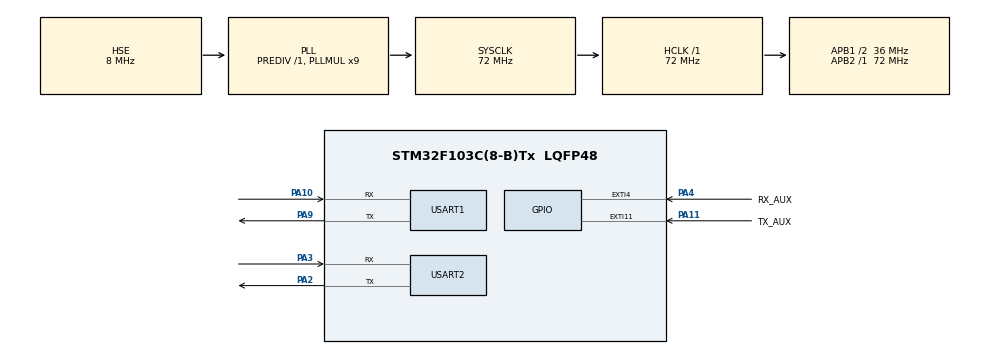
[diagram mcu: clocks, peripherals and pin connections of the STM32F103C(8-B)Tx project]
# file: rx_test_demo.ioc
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Dma.Request0=USART1_RX
Dma.Request1=USART2_RX
Dma.Request2=USART2_TX
Dma.Request3=USART1_TX
Dma.USART1_RX.0.Direction=DMA_PERIPH_TO_MEMORY
Dma.USART1_RX.0.Instance=DMA1_Channel5
Dma.USART1_RX.0.MemDataAlignment=DMA_MDATAALIGN_BYTE
Dma.USART1_RX.0.MemInc=DMA_MINC_ENABLE
Dma.USART1_RX.0.Mode=DMA_NORMAL
Dma.USART1_RX.0.PeriphDataAlignment=DMA_PDATAALIGN_BYTE
Dma.USART1_RX.0.PeriphInc=DMA_PINC_DISABLE
Dma.USART1_RX.0.Priority=DMA_PRIORITY_LOW
Dma.USART1_TX.3.Direction=DMA_MEMORY_TO_PERIPH
Dma.USART1_TX.3.Instance=DMA1_Channel4
Dma.USART1_TX.3.MemDataAlignment=DMA_MDATAALIGN_BYTE
Dma.USART1_TX.3.MemInc=DMA_MINC_ENABLE
Dma.USART1_TX.3.Mode=DMA_NORMAL
Dma.USART1_TX.3.PeriphDataAlignment=DMA_PDATAALIGN_BYTE
Dma.USART1_TX.3.PeriphInc=DMA_PINC_DISABLE
Dma.USART1_TX.3.Priority=DMA_PRIORITY_LOW
Dma.USART2_RX.1.Direction=DMA_PERIPH_TO_MEMORY
Dma.USART2_RX.1.Instance=DMA1_Channel6
Dma.USART2_RX.1.MemDataAlignment=DMA_MDATAALIGN_BYTE
Dma.USART2_RX.1.MemInc=DMA_MINC_ENABLE
Dma.USART2_RX.1.Mode=DMA_NORMAL
Dma.USART2_RX.1.PeriphDataAlignment=DMA_PDATAALIGN_BYTE
Dma.USART2_RX.1.PeriphInc=DMA_PINC_DISABLE
Dma.USART2_RX.1.Priority=DMA_PRIORITY_LOW
Dma.USART2_TX.2.Direction=DMA_MEMORY_TO_PERIPH
Dma.USART2_TX.2.Instance=DMA1_Channel7
Dma.USART2_TX.2.MemDataAlignment=DMA_MDATAALIGN_BYTE
Dma.USART2_TX.2.MemInc=DMA_MINC_ENABLE
Dma.USART2_TX.2.Mode=DMA_NORMAL
Dma.USART2_TX.2.PeriphDataAlignment=DMA_PDATAALIGN_BYTE
Dma.USART2_TX.2.PeriphInc=DMA_PINC_DISABLE
Dma.USART2_TX.2.Priority=DMA_PRIORITY_LOW
Mcu.Family=STM32F1
Mcu.Name=STM32F103C(8-B)Tx
Mcu.Package=LQFP48
NVIC.DMA1_Channel4_IRQn=true\:0\:0\:false\:false\:true\:false\:true\:true
NVIC.DMA1_Channel5_IRQn=true\:0\:0\:false\:false\:true\:false\:true\:true
NVIC.DMA1_Channel6_IRQn=true\:0\:0\:false\:false\:true\:false\:true\:true
NVIC.DMA1_Channel7_IRQn=true\:0\:0\:false\:false\:true\:false\:true\:true
NVIC.EXTI15_10_IRQn=true\:0\:0\:false\:false\:true\:true\:true\:true
NVIC.EXTI4_IRQn=true\:0\:0\:false\:false\:true\:true\:true\:true
NVIC.PriorityGroup=NVIC_PRIORITYGROUP_4
NVIC.TIM1_UP_IRQn=true\:15\:0\:false\:false\:true\:false\:true\:true
NVIC.TIM2_IRQn=true\:0\:0\:false\:false\:true\:true\:true\:true
NVIC.TimeBase=TIM1_UP_IRQn
NVIC.TimeBaseIP=TIM1
NVIC.USART1_IRQn=true\:5\:0\:true\:false\:true\:true\:true\:true
NVIC.USART2_IRQn=true\:5\:0\:true\:false\:true\:true\:true\:true
PA10.Mode=Asynchronous
PA10.Signal=USART1_RX
PA11.GPIO_Label=TX_AUX
PA11.GPIO_PuPd=GPIO_PULLDOWN
PA11.Signal=GPXTI11
PA13.Mode=Serial_Wire
PA13.Signal=SYS_JTMS-SWDIO
PA14.Mode=Serial_Wire
PA14.Signal=SYS_JTCK-SWCLK
PA2.Mode=Asynchronous
PA2.Signal=USART2_TX
PA3.Mode=Asynchronous
PA3.Signal=USART2_RX
PA4.GPIO_Label=RX_AUX
PA4.GPIO_PuPd=GPIO_PULLDOWN
PA4.Signal=GPXTI4
PA9.Mode=Asynchronous
PA9.Signal=USART1_TX
PD0-OSC_IN.Mode=HSE-External-Oscillator
PD0-OSC_IN.Signal=RCC_OSC_IN
PD1-OSC_OUT.Mode=HSE-External-Oscillator
PD1-OSC_OUT.Signal=RCC_OSC_OUT
ProjectManager.HeapSize=0x200
ProjectManager.StackSize=0x400
ProjectManager.TargetToolchain=MDK-ARM V5.32
RCC.AHBFreq_Value=72000000
RCC.APB1CLKDivider=RCC_HCLK_DIV2
RCC.APB1Freq_Value=36000000
RCC.APB1TimFreq_Value=72000000
RCC.APB2Freq_Value=72000000
RCC.APB2TimFreq_Value=72000000
RCC.HCLKFreq_Value=72000000
RCC.PLLMUL=RCC_PLL_MUL9
RCC.PLLSourceVirtual=RCC_PLLSOURCE_HSE
RCC.SYSCLKFreq_VALUE=72000000
RCC.SYSCLKSource=RCC_SYSCLKSOURCE_PLLCLK
RCC.USBFreq_Value=72000000
TIM2.Period=100-1
TIM2.Prescaler=7200-1
USART1.VirtualMode=VM_ASYNC
USART2.VirtualMode=VM_ASYNC
VP_SYS_VS_tim1.Mode=TIM1
VP_TIM2_VS_ClockSourceINT.Mode=Internal
board=custom

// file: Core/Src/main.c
/* USER CODE BEGIN Header */
/**
  ******************************************************************************
  * @file           : main.c
  * @brief          : Main program body
  ******************************************************************************
  * @attention
  *
  * Copyright (c) 2026 STMicroelectronics.
  * All rights reserved.
  *
  * This software is licensed under terms that can be found in the LICENSE file
  * in the root directory of this software component.
  * If no LICENSE file comes with this software, it is provided AS-IS.
  *
  ******************************************************************************
  */
/* USER CODE END Header */
#include "main.h"
#include "dma.h"
#include "tim.h"
#include "usart.h"
#include "gpio.h"

/* USER CODE BEGIN Includes */
#include "communication.h"
#include "comm_wrapper.h"
uint16_t bag_cnt=0;
uint16_t cor_bag_cnt=0;
/* USER CODE END Includes */

/* USER CODE BEGIN PV */
uint16_t global_joy_ch1 = 0;
uint16_t global_joy_ch2 = 0;
uint16_t global_joy_ch3 = 0;
uint16_t global_joy_ch4 = 0;
uint16_t global_key = 0;
/* USER CODE END PV */

void SystemClock_Config(void);

int main(void)
{

  /* MCU Configuration--------------------------------------------------------*/

  /* Reset of all peripherals, Initializes the Flash interface and the Systick. */
  HAL_Init();

  /* Configure the system clock */
  SystemClock_Config();

  /* Initialize all configured peripherals */
  MX_GPIO_Init();
  MX_DMA_Init();
  MX_USART1_UART_Init();
  MX_USART2_UART_Init();
  MX_TIM2_Init();
  /* USER CODE BEGIN 2 */
  HAL_TIM_Base_Start_IT(&htim2);
  CommWrapper_Init(&huart1, &huart2, TX_AUX_GPIO_Port, TX_AUX_Pin, RX_AUX_GPIO_Port, RX_AUX_Pin);
  /* USER CODE END 2 */

  /* Infinite loop */
  while (1)
  {

    /* USER CODE BEGIN 3 */
		if (CommWrapper_Task_Loop()) {
        // 如果处理到有效的数据，则获取最新的摇杆和按键数据到全局变量中
        uint16_t temp_joystick[4] = {0};
        CommWrapper_GetRecvData(temp_joystick, &global_key);
        global_joy_ch1 = temp_joystick[0];
        global_joy_ch2 = temp_joystick[1];
        global_joy_ch3 = temp_joystick[2];
        global_joy_ch4 = temp_joystick[3];
    }
//		HAL_UART_Transmit(&huart1, (uint8_t*)&tx_cnt, 2, 10);
  }
  /* USER CODE END 3 */
}

void SystemClock_Config(void)
{
  RCC_OscInitTypeDef RCC_OscInitStruct = {0};
  RCC_ClkInitTypeDef RCC_ClkInitStruct = {0};

  /** Initializes the RCC Oscillators according to the specified parameters
  * in the RCC_OscInitTypeDef structure.
  */
  RCC_OscInitStruct.OscillatorType = RCC_OSCILLATORTYPE_HSE;
  RCC_OscInitStruct.HSEState = RCC_HSE_ON;
  RCC_OscInitStruct.HSEPredivValue = RCC_HSE_PREDIV_DIV1;
  RCC_OscInitStruct.HSIState = RCC_HSI_ON;
  RCC_OscInitStruct.PLL.PLLState = RCC_PLL_ON;
  RCC_OscInitStruct.PLL.PLLSource = RCC_PLLSOURCE_HSE;
  RCC_OscInitStruct.PLL.PLLMUL = RCC_PLL_MUL9;
  if (HAL_RCC_OscConfig(&RCC_OscInitStruct) != HAL_OK)
  {
    Error_Handler();
  }

  /** Initializes the CPU, AHB and APB buses clocks
  */
  RCC_ClkInitStruct.ClockType = RCC_CLOCKTYPE_HCLK|RCC_CLOCKTYPE_SYSCLK
                              |RCC_CLOCKTYPE_PCLK1|RCC_CLOCKTYPE_PCLK2;
  RCC_ClkInitStruct.SYSCLKSource = RCC_SYSCLKSOURCE_PLLCLK;
  RCC_ClkInitStruct.AHBCLKDivider = RCC_SYSCLK_DIV1;
  RCC_ClkInitStruct.APB1CLKDivider = RCC_HCLK_DIV2;
  RCC_ClkInitStruct.APB2CLKDivider = RCC_HCLK_DIV1;

  if (HAL_RCC_ClockConfig(&RCC_ClkInitStruct, FLASH_LATENCY_2) != HAL_OK)
  {
    Error_Handler();
  }
}

/* USER CODE BEGIN 4 */
void HAL_UARTEx_RxEventCallback(UART_HandleTypeDef *huart_, uint16_t size_)
{
  CommWrapper_RxDMAToRxBuffer(huart_, size_);
}

void HAL_UART_TxCpltCallback(UART_HandleTypeDef *huart)
{
// CommWrapper_TxBufferToTxDMA(huart);
}

void HAL_GPIO_EXTI_Callback(uint16_t GPIO_Pin)
{
  if (GPIO_Pin == TX_AUX_Pin) {
		CommWrapper_TxBufferToTxDMA(&huart1);
  }
}
//void HAL_UART_ErrorCallback(UART_HandleTypeDef *huart)
//{
//  Comm_UartError_Callback_Wrapper(huart);
//}

/* USER CODE END 4 */

void HAL_TIM_PeriodElapsedCallback(TIM_HandleTypeDef *htim)
{
  if (htim->Instance == TIM1)
  {
    HAL_IncTick();
  }
  /* USER CODE BEGIN Callback 1 */
  else if (htim->Instance == TIM2)
  {
		 CommWrapper_SendAxisData(1, 2, 5 ,0xAA,0xBB,0xCC,0xDD);
  }
  /* USER CODE END Callback 1 */
}

void Error_Handler(void)
{
  __disable_irq();
  while (1)
  {
  }
}
